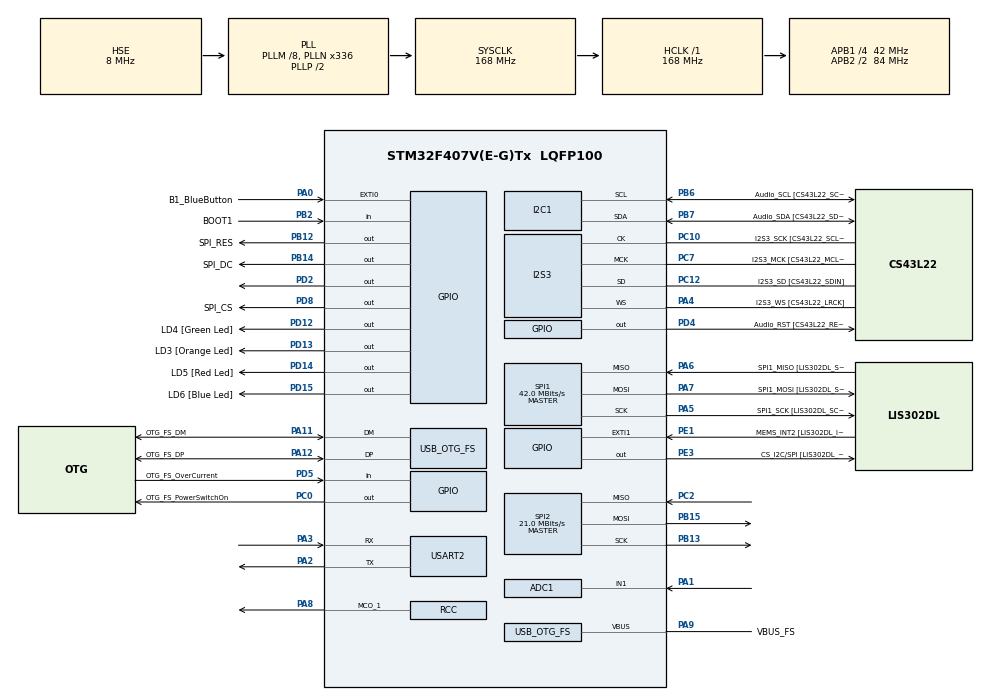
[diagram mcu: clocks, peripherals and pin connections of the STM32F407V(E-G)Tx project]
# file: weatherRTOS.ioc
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ADC1.Channel-0\#ChannelRegularConversion=ADC_CHANNEL_1
ADC1.ContinuousConvMode=ENABLE
ADC1.DMAContinuousRequests=ENABLE
ADC1.EnableAnalogWatchDog=false
ADC1.NbrOfConversionFlag=1
ADC1.Rank-0\#ChannelRegularConversion=1
ADC1.Resolution=ADC_RESOLUTION_8B
ADC1.SamplingTime-0\#ChannelRegularConversion=ADC_SAMPLETIME_3CYCLES
ADC1.master=1
Dma.ADC1.0.Direction=DMA_PERIPH_TO_MEMORY
Dma.ADC1.0.FIFOMode=DMA_FIFOMODE_DISABLE
Dma.ADC1.0.Instance=DMA2_Stream0
Dma.ADC1.0.MemDataAlignment=DMA_MDATAALIGN_HALFWORD
Dma.ADC1.0.MemInc=DMA_MINC_ENABLE
Dma.ADC1.0.Mode=DMA_NORMAL
Dma.ADC1.0.PeriphDataAlignment=DMA_PDATAALIGN_HALFWORD
Dma.ADC1.0.PeriphInc=DMA_PINC_DISABLE
Dma.ADC1.0.Priority=DMA_PRIORITY_MEDIUM
Dma.Request0=ADC1
FREERTOS.BinarySemaphores01=BME280_BinSem,Dynamic,NULL
FREERTOS.Mutexes01=adc_oled,Dynamic,NULL
FREERTOS.Queues01=QueuePeriphs,16,uint64_t,0,Dynamic,NULL,NULL
FREERTOS.Tasks01=TaskBME280,24,128,StartTaskBME280,Default,NULL,Dynamic,NULL,NULL;TaskOLED,24,128,StartTaskOLED,Default,NULL,Dynamic,NULL,NULL;TaskADC,24,128,StartTaskADC,Default,NULL,Dynamic,NULL,NULL
FREERTOS.Timers01=BME280_Timer,BME280_Callback,osTimerPeriodic,Default,NULL,Dynamic,NULL
FREERTOS.configENABLE_FPU=1
FREERTOS.configMAX_TASK_NAME_LEN=16
FREERTOS.configMINIMAL_STACK_SIZE=128
I2S3.AudioFreq-Half_Duplex_Master=I2S_AUDIOFREQ_96K
I2S3.ErrorAudioFreq=-2.34 %
I2S3.ErrorAudioFreq-Half_Duplex_Master=0.8 %
I2S3.FullDuplexMode=I2S_FULLDUPLEXMODE_DISABLE
I2S3.Instance=SPI$Index
I2S3.RealAudioFreq=93.75 KHz
I2S3.RealAudioFreq-Half_Duplex_Master=96.774 KHz
I2S3.VirtualMode=I2S_MODE_MASTER
Mcu.Family=STM32F4
Mcu.Name=STM32F407V(E-G)Tx
Mcu.Package=LQFP100
NVIC.DMA2_Stream0_IRQn=true\:5\:0\:false\:false\:true\:true\:false\:true
NVIC.EXTI0_IRQn=true\:5\:0\:false\:false\:true\:true\:true\:true
NVIC.OTG_FS_IRQn=true\:5\:0\:false\:false\:true\:true\:true\:true
NVIC.PriorityGroup=NVIC_PRIORITYGROUP_4
NVIC.RCC_IRQn=true\:5\:0\:false\:false\:true\:true\:true\:false
NVIC.TIM6_DAC_IRQn=true\:0\:0\:false\:false\:true\:false\:false\:true
NVIC.TimeBase=TIM6_DAC_IRQn
NVIC.TimeBaseIP=TIM6
PA0-WKUP.GPIO_Label=B1_BlueButton
PA0-WKUP.Signal=GPXTI0
PA1.Signal=ADCx_IN1
PA10.GPIO_Label=OTG_FS_ID
PA10.GPIO_Mode=GPIO_MODE_AF_PP
PA10.GPIO_PuPd=GPIO_NOPULL
PA10.GPIO_Speed=GPIO_SPEED_FREQ_LOW
PA10.Signal=USB_OTG_FS_ID
PA11.GPIO_Label=OTG_FS_DM
PA11.GPIO_Mode=GPIO_MODE_AF_PP
PA11.GPIO_PuPd=GPIO_NOPULL
PA11.GPIO_Speed=GPIO_SPEED_FREQ_LOW
PA11.Mode=Host_Only
PA11.Signal=USB_OTG_FS_DM
PA12.GPIO_Label=OTG_FS_DP
PA12.GPIO_Mode=GPIO_MODE_AF_PP
PA12.GPIO_PuPd=GPIO_NOPULL
PA12.GPIO_Speed=GPIO_SPEED_FREQ_LOW
PA12.Mode=Host_Only
PA12.Signal=USB_OTG_FS_DP
PA13.GPIO_Label=SWDIO
PA13.Mode=Serial_Wire
PA13.Signal=SYS_JTMS-SWDIO
PA14.GPIO_Label=SWCLK
PA14.Mode=Serial_Wire
PA14.Signal=SYS_JTCK-SWCLK
PA2.Mode=Asynchronous
PA2.Signal=USART2_TX
PA3.Mode=Asynchronous
PA3.Signal=USART2_RX
PA4.GPIO_Label=I2S3_WS [CS43L22_LRCK]
PA4.GPIO_Mode=GPIO_MODE_AF_PP
PA4.GPIO_PuPd=GPIO_NOPULL
PA4.GPIO_Speed=GPIO_SPEED_FREQ_LOW
PA4.Mode=Half_Duplex_Master
PA4.Signal=I2S3_WS
PA5.GPIO_Label=SPI1_SCK [LIS302DL_SCL/SPC]
PA5.GPIO_Mode=GPIO_MODE_AF_PP
PA5.GPIO_PuPd=GPIO_NOPULL
PA5.GPIO_Speed=GPIO_SPEED_FREQ_LOW
PA5.Mode=Full_Duplex_Master
PA5.Signal=SPI1_SCK
PA6.GPIO_Label=SPI1_MISO [LIS302DL_SDO]
PA6.GPIO_Mode=GPIO_MODE_AF_PP
PA6.GPIO_PuPd=GPIO_NOPULL
PA6.GPIO_Speed=GPIO_SPEED_FREQ_LOW
PA6.Mode=Full_Duplex_Master
PA6.Signal=SPI1_MISO
PA7.GPIO_Label=SPI1_MOSI [LIS302DL_SDA/SDI/SDO]
PA7.GPIO_Mode=GPIO_MODE_AF_PP
PA7.GPIO_PuPd=GPIO_NOPULL
PA7.GPIO_Speed=GPIO_SPEED_FREQ_LOW
PA7.Mode=Full_Duplex_Master
PA7.Signal=SPI1_MOSI
PA8.Mode=Clock-out-1
PA8.Signal=RCC_MCO_1
PA9.GPIO_Label=VBUS_FS
PA9.GPIO_Mode=GPIO_MODE_INPUT
PA9.GPIO_PuPd=GPIO_NOPULL
PA9.Mode=Activate_VBUS
PA9.Signal=USB_OTG_FS_VBUS
PB10.GPIO_Label=CLK_IN [MP45DT02_CLK]
PB10.GPIO_Mode=GPIO_MODE_AF_PP
PB10.GPIO_PuPd=GPIO_NOPULL
PB10.GPIO_Speed=GPIO_SPEED_FREQ_LOW
PB10.Signal=I2S2_CK
PB12.GPIO_Label=SPI_RES
PB12.Signal=GPIO_Output
PB13.Mode=Full_Duplex_Master
PB13.Signal=SPI2_SCK
PB14.GPIO_Label=SPI_DC
PB14.Signal=GPIO_Output
PB15.Mode=Full_Duplex_Master
PB15.Signal=SPI2_MOSI
PB2.GPIO_Label=BOOT1
PB2.GPIO_Mode=GPIO_MODE_INPUT
PB2.GPIO_PuPd=GPIO_NOPULL
PB2.Signal=GPIO_Input
PB3.GPIO_Label=SWO
PB3.Signal=SYS_JTDO-SWO
PB6.GPIO_Label=Audio_SCL [CS43L22_SCL]
PB6.GPIO_Mode=GPIO_MODE_AF_OD
PB6.GPIO_PuPd=GPIO_NOPULL
PB6.GPIO_Speed=GPIO_SPEED_FREQ_LOW
PB6.Mode=I2C
PB6.Signal=I2C1_SCL
PB7.GPIO_Label=Audio_SDA [CS43L22_SDA]
PB7.GPIO_Mode=GPIO_MODE_AF_OD
PB7.GPIO_Speed=GPIO_SPEED_FREQ_LOW
PB7.Mode=I2C
PB7.Signal=I2C1_SDA
PC0.GPIO_Label=OTG_FS_PowerSwitchOn
PC0.GPIO_PuPd=GPIO_NOPULL
PC0.GPIO_Speed=GPIO_SPEED_FREQ_LOW
PC0.PinState=GPIO_PIN_SET
PC0.Signal=GPIO_Output
PC10.GPIO_Label=I2S3_SCK [CS43L22_SCLK]
PC10.GPIO_Mode=GPIO_MODE_AF_PP
PC10.GPIO_PuPd=GPIO_NOPULL
PC10.GPIO_Speed=GPIO_SPEED_FREQ_LOW
PC10.Mode=Half_Duplex_Master
PC10.Signal=I2S3_CK
PC12.GPIO_Label=I2S3_SD [CS43L22_SDIN]
PC12.GPIO_Mode=GPIO_MODE_AF_PP
PC12.GPIO_PuPd=GPIO_NOPULL
PC12.GPIO_Speed=GPIO_SPEED_FREQ_LOW
PC12.Mode=Half_Duplex_Master
PC12.Signal=I2S3_SD
PC14-OSC32_IN.GPIO_Label=PC14-OSC32_IN
PC14-OSC32_IN.Mode=LSE-External-Oscillator
PC14-OSC32_IN.Signal=RCC_OSC32_IN
PC15-OSC32_OUT.GPIO_Label=PC15-OSC32_OUT
PC15-OSC32_OUT.Mode=LSE-External-Oscillator
PC15-OSC32_OUT.Signal=RCC_OSC32_OUT
PC2.Mode=Full_Duplex_Master
PC2.Signal=SPI2_MISO
PC3.GPIO_Label=PDM_OUT [MP45DT02_DOUT]
PC3.GPIO_Mode=GPIO_MODE_AF_PP
PC3.GPIO_PuPd=GPIO_NOPULL
PC3.GPIO_Speed=GPIO_SPEED_FREQ_LOW
PC3.Signal=I2S2_SD
PC7.GPIO_Label=I2S3_MCK [CS43L22_MCLK]
PC7.GPIO_Mode=GPIO_MODE_AF_PP
PC7.GPIO_PuPd=GPIO_NOPULL
PC7.GPIO_Speed=GPIO_SPEED_FREQ_LOW
PC7.Mode=Master_Clock_Activated
PC7.Signal=I2S3_MCK
PD12.GPIO_Label=LD4 [Green Led]
PD12.GPIO_PuPd=GPIO_NOPULL
PD12.GPIO_Speed=GPIO_SPEED_FREQ_LOW
PD12.Signal=GPIO_Output
PD13.GPIO_Label=LD3 [Orange Led]
PD13.GPIO_PuPd=GPIO_NOPULL
PD13.GPIO_Speed=GPIO_SPEED_FREQ_LOW
PD13.Signal=GPIO_Output
PD14.GPIO_Label=LD5 [Red Led]
PD14.GPIO_PuPd=GPIO_NOPULL
PD14.GPIO_Speed=GPIO_SPEED_FREQ_LOW
PD14.Signal=GPIO_Output
PD15.GPIO_Label=LD6 [Blue Led]
PD15.GPIO_PuPd=GPIO_NOPULL
PD15.GPIO_Speed=GPIO_SPEED_FREQ_LOW
PD15.Signal=GPIO_Output
PD2.Signal=GPIO_Output
PD4.GPIO_Label=Audio_RST [CS43L22_RESET]
PD4.GPIO_PuPd=GPIO_NOPULL
PD4.GPIO_Speed=GPIO_SPEED_FREQ_LOW
PD4.Signal=GPIO_Output
PD5.GPIO_Label=OTG_FS_OverCurrent
PD5.GPIO_Mode=GPIO_MODE_INPUT
PD5.GPIO_PuPd=GPIO_NOPULL
PD5.Signal=GPIO_Input
PD8.GPIO_Label=SPI_CS
PD8.Signal=GPIO_Output
PE1.GPIO_Label=MEMS_INT2 [LIS302DL_INT2]
PE1.GPIO_ModeDefaultEXTI=GPIO_MODE_EVT_RISING
PE1.GPIO_PuPd=GPIO_NOPULL
PE1.Signal=GPXTI1
PE3.GPIO_Label=CS_I2C/SPI [LIS302DL_CS_I2C/SPI]
PE3.GPIO_PuPd=GPIO_NOPULL
PE3.GPIO_Speed=GPIO_SPEED_FREQ_LOW
PE3.Signal=GPIO_Output
PH0-OSC_IN.GPIO_Label=PH0-OSC_IN
PH0-OSC_IN.Mode=HSE-External-Oscillator
PH0-OSC_IN.Signal=RCC_OSC_IN
PH1-OSC_OUT.GPIO_Label=PH1-OSC_OUT
PH1-OSC_OUT.Mode=HSE-External-Oscillator
PH1-OSC_OUT.Signal=RCC_OSC_OUT
ProjectManager.HeapSize=0x200
ProjectManager.StackSize=0x400
ProjectManager.TargetToolchain=STM32CubeIDE
RCC.48MHZClocksFreq_Value=48000000
RCC.AHBFreq_Value=168000000
RCC.APB1CLKDivider=RCC_HCLK_DIV4
RCC.APB1Freq_Value=42000000
RCC.APB1TimFreq_Value=84000000
RCC.APB2CLKDivider=RCC_HCLK_DIV2
RCC.APB2Freq_Value=84000000
RCC.APB2TimFreq_Value=168000000
RCC.CortexFreq_Value=168000000
RCC.HCLKFreq_Value=168000000
RCC.HSE_VALUE=8000000
RCC.HSI_VALUE=16000000
RCC.PLLM=8
RCC.PLLN=336
RCC.PLLQ=7
RCC.SYSCLKFreq_VALUE=168000000
RCC.SYSCLKSource=RCC_SYSCLKSOURCE_PLLCLK
RCC.VCOOutputFreq_Value=336000000
SH.ADCx_IN1.0=ADC1_IN1,IN1
SPI1.CalculateBaudRate=42.0 MBits/s
SPI1.Direction=SPI_DIRECTION_2LINES
SPI1.Mode=SPI_MODE_MASTER
SPI1.VirtualType=VM_MASTER
SPI2.CalculateBaudRate=21.0 MBits/s
SPI2.Direction=SPI_DIRECTION_2LINES
SPI2.Mode=SPI_MODE_MASTER
SPI2.VirtualType=VM_MASTER
USART2.VirtualMode=VM_ASYNC
USB_HOST.BSP.number=1
USB_HOST.USBH_HandleTypeDef-CDC_FS=hUsbHostFS
USB_HOST.USBH_USE_OS-CDC_FS=0
USB_HOST.VirtualModeFS=Cdc
USB_HOST0.BSP.STBoard=false
USB_HOST0.BSP.api=Unknown
USB_HOST0.BSP.i2caddr=0
USB_HOST0.BSP.i2creg=0
USB_HOST0.BSP.instance=PC0
USB_HOST0.BSP.ip=GPIO
USB_HOST0.BSP.mode=Output
USB_HOST0.BSP.name=Drive_VBUS_FS
USB_HOST0.BSP.solution=PC0
USB_OTG_FS.VirtualMode=Host_Only
USB_OTG_FS.phy_itface=HCD_PHY_EMBEDDED
VP_FREERTOS_VS_CMSIS_V2.Mode=CMSIS_V2
VP_SYS_VS_tim6.Mode=TIM6
VP_USB_HOST_VS_USB_HOST_CDC_FS.Mode=CDC_FS
board=STM32F407G-DISC1

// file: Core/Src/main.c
/* USER CODE BEGIN Header */
/**
  ******************************************************************************
  * @file           : main.c
  * @brief          : Main program body
  ******************************************************************************
  * @attention
  *
  * <h2><center>&copy; Copyright (c) 2021 STMicroelectronics.
  * All rights reserved.</center></h2>
  *
  * This software component is licensed by ST under Ultimate Liberty license
  * SLA0044, the "License"; You may not use this file except in compliance with
  * the License. You may obtain a copy of the License at:
  *                             www.st.com/SLA0044
  *
  ******************************************************************************
  */
/* USER CODE END Header */
#include "main.h"
#include "cmsis_os.h"
#include "usb_host.h"

/* USER CODE BEGIN Includes */
#include "BME280.h"
#include "OLED.h"
#include "FXOS.h"
#include <string.h>
#include <stdio.h>
/* USER CODE END Includes */

/* USER CODE BEGIN PM */
#define BME280_PERIOD_MS			(1000UL)	// period to check BME280 sensor status
#define OLED_PERIOD_MS				(40UL)		// period to update OLED display
#define ADC_PERIOD_MS				(10UL)		// period to check ADC value

#define ESP32_ADDR					(0x07)		// slave address for ESP32 I2C
#define ESP32_BUF_SIZE				(2UL)		// I2C buffer size
/* USER CODE END PM */

ADC_HandleTypeDef hadc1;
DMA_HandleTypeDef hdma_adc1;

I2C_HandleTypeDef hi2c1;

I2S_HandleTypeDef hi2s3;

SPI_HandleTypeDef hspi1;
SPI_HandleTypeDef hspi2;

UART_HandleTypeDef huart2;

/* Definitions for TaskBME280 */
osThreadId_t TaskBME280Handle;
const osThreadAttr_t TaskBME280_attributes = {
  .name = "TaskBME280",
  .priority = (osPriority_t) osPriorityNormal,
  .stack_size = 128 * 4
};
/* Definitions for TaskOLED */
osThreadId_t TaskOLEDHandle;
const osThreadAttr_t TaskOLED_attributes = {
  .name = "TaskOLED",
  .priority = (osPriority_t) osPriorityNormal,
  .stack_size = 128 * 4
};
/* Definitions for TaskADC */
osThreadId_t TaskADCHandle;
const osThreadAttr_t TaskADC_attributes = {
  .name = "TaskADC",
  .priority = (osPriority_t) osPriorityNormal,
  .stack_size = 128 * 4
};
/* Definitions for QueuePeriphs */
osMessageQueueId_t QueuePeriphsHandle;
const osMessageQueueAttr_t QueuePeriphs_attributes = {
  .name = "QueuePeriphs"
};
/* Definitions for BME280_Timer */
osTimerId_t BME280_TimerHandle;
const osTimerAttr_t BME280_Timer_attributes = {
  .name = "BME280_Timer"
};
/* Definitions for adc_oled */
osMutexId_t adc_oledHandle;
const osMutexAttr_t adc_oled_attributes = {
  .name = "adc_oled"
};
/* Definitions for BME280_BinSem */
osSemaphoreId_t BME280_BinSemHandle;
const osSemaphoreAttr_t BME280_BinSem_attributes = {
  .name = "BME280_BinSem"
};
/* USER CODE BEGIN PV */

volatile Bool buttonIRQ_g = False ;
uint8_t dimmingVal_g = 0 ;	// only global in main.c

/* USER CODE END PV */

void SystemClock_Config(void);
static void MX_GPIO_Init(void);
static void MX_DMA_Init(void);
static void MX_I2C1_Init(void);
static void MX_I2S3_Init(void);
static void MX_SPI1_Init(void);
static void MX_SPI2_Init(void);
static void MX_USART2_UART_Init(void);
static void MX_ADC1_Init(void);
void StartTaskBME280(void *argument);
void StartTaskOLED(void *argument);
void StartTaskADC(void *argument);
void BME280_Callback(void *argument);

/* USER CODE BEGIN PFP */
void floatToStr(float f, int8_t *buf, uint8_t decPlaces) ;
/* USER CODE END PFP */

int main(void)
{

  /* MCU Configuration--------------------------------------------------------*/

  /* Reset of all peripherals, Initializes the Flash interface and the Systick. */
  HAL_Init();

  /* Configure the system clock */
  SystemClock_Config();

  /* Initialize all configured peripherals */
  MX_GPIO_Init();
  MX_DMA_Init();
  MX_I2C1_Init();
  MX_I2S3_Init();
  MX_SPI1_Init();
  MX_SPI2_Init();
  MX_USART2_UART_Init();
  MX_ADC1_Init();

  /* Init scheduler */
  osKernelInitialize();
  /* Create the mutex(es) */
  /* creation of adc_oled */
  adc_oledHandle = osMutexNew(&adc_oled_attributes);

  /* Create the semaphores(s) */
  /* creation of BME280_BinSem */
  BME280_BinSemHandle = osSemaphoreNew(1, 1, &BME280_BinSem_attributes);

  /* Create the timer(s) */
  /* creation of BME280_Timer */
  BME280_TimerHandle = osTimerNew(BME280_Callback, osTimerPeriodic, NULL, &BME280_Timer_attributes);

  /* USER CODE BEGIN RTOS_TIMERS */
  /* start timers, add new ones, ... */

  // start BME280_TimerHandle
  osTimerStart(BME280_TimerHandle, BME280_PERIOD_MS) ;

  /* USER CODE END RTOS_TIMERS */

  /* Create the queue(s) */
  /* creation of QueuePeriphs */
  QueuePeriphsHandle = osMessageQueueNew (16, sizeof(uint64_t), &QueuePeriphs_attributes);

  /* Create the thread(s) */
  /* creation of TaskBME280 */
  TaskBME280Handle = osThreadNew(StartTaskBME280, NULL, &TaskBME280_attributes);

  /* creation of TaskOLED */
  TaskOLEDHandle = osThreadNew(StartTaskOLED, NULL, &TaskOLED_attributes);

  /* creation of TaskADC */
  TaskADCHandle = osThreadNew(StartTaskADC, NULL, &TaskADC_attributes);

  /* Start scheduler */
  osKernelStart();

  /* We should never get here as control is now taken by the scheduler */
  /* Infinite loop */
  while (1)
  {

  }
}

void SystemClock_Config(void)
{
  RCC_OscInitTypeDef RCC_OscInitStruct = {0};
  RCC_ClkInitTypeDef RCC_ClkInitStruct = {0};
  RCC_PeriphCLKInitTypeDef PeriphClkInitStruct = {0};

  /** Configure the main internal regulator output voltage
  */
  __HAL_RCC_PWR_CLK_ENABLE();
  __HAL_PWR_VOLTAGESCALING_CONFIG(PWR_REGULATOR_VOLTAGE_SCALE1);
  /** Initializes the RCC Oscillators according to the specified parameters
  * in the RCC_OscInitTypeDef structure.
  */
  RCC_OscInitStruct.OscillatorType = RCC_OSCILLATORTYPE_HSI|RCC_OSCILLATORTYPE_HSE;
  RCC_OscInitStruct.HSEState = RCC_HSE_ON;
  RCC_OscInitStruct.HSIState = RCC_HSI_ON;
  RCC_OscInitStruct.HSICalibrationValue = RCC_HSICALIBRATION_DEFAULT;
  RCC_OscInitStruct.PLL.PLLState = RCC_PLL_ON;
  RCC_OscInitStruct.PLL.PLLSource = RCC_PLLSOURCE_HSE;
  RCC_OscInitStruct.PLL.PLLM = 8;
  RCC_OscInitStruct.PLL.PLLN = 336;
  RCC_OscInitStruct.PLL.PLLP = RCC_PLLP_DIV2;
  RCC_OscInitStruct.PLL.PLLQ = 7;
  if (HAL_RCC_OscConfig(&RCC_OscInitStruct) != HAL_OK)
  {
    Error_Handler();
  }
  /** Initializes the CPU, AHB and APB buses clocks
  */
  RCC_ClkInitStruct.ClockType = RCC_CLOCKTYPE_HCLK|RCC_CLOCKTYPE_SYSCLK
                              |RCC_CLOCKTYPE_PCLK1|RCC_CLOCKTYPE_PCLK2;
  RCC_ClkInitStruct.SYSCLKSource = RCC_SYSCLKSOURCE_PLLCLK;
  RCC_ClkInitStruct.AHBCLKDivider = RCC_SYSCLK_DIV1;
  RCC_ClkInitStruct.APB1CLKDivider = RCC_HCLK_DIV4;
  RCC_ClkInitStruct.APB2CLKDivider = RCC_HCLK_DIV2;

  if (HAL_RCC_ClockConfig(&RCC_ClkInitStruct, FLASH_LATENCY_5) != HAL_OK)
  {
    Error_Handler();
  }
  PeriphClkInitStruct.PeriphClockSelection = RCC_PERIPHCLK_I2S;
  PeriphClkInitStruct.PLLI2S.PLLI2SN = 192;
  PeriphClkInitStruct.PLLI2S.PLLI2SR = 2;
  if (HAL_RCCEx_PeriphCLKConfig(&PeriphClkInitStruct) != HAL_OK)
  {
    Error_Handler();
  }
  HAL_RCC_MCOConfig(RCC_MCO1, RCC_MCO1SOURCE_HSI, RCC_MCODIV_1);
}

static void MX_ADC1_Init(void)
{

  ADC_ChannelConfTypeDef sConfig = {0};

  /** Configure the global features of the ADC (Clock, Resolution, Data Alignment and number of conversion)
  */
  hadc1.Instance = ADC1;
  hadc1.Init.ClockPrescaler = ADC_CLOCK_SYNC_PCLK_DIV4;
  hadc1.Init.Resolution = ADC_RESOLUTION_8B;
  hadc1.Init.ScanConvMode = DISABLE;
  hadc1.Init.ContinuousConvMode = ENABLE;
  hadc1.Init.DiscontinuousConvMode = DISABLE;
  hadc1.Init.ExternalTrigConvEdge = ADC_EXTERNALTRIGCONVEDGE_NONE;
  hadc1.Init.ExternalTrigConv = ADC_SOFTWARE_START;
  hadc1.Init.DataAlign = ADC_DATAALIGN_RIGHT;
  hadc1.Init.NbrOfConversion = 1;
  hadc1.Init.DMAContinuousRequests = ENABLE;
  hadc1.Init.EOCSelection = ADC_EOC_SINGLE_CONV;
  if (HAL_ADC_Init(&hadc1) != HAL_OK)
  {
    Error_Handler();
  }
  /** Configure for the selected ADC regular channel its corresponding rank in the sequencer and its sample time.
  */
  sConfig.Channel = ADC_CHANNEL_1;
  sConfig.Rank = 1;
  sConfig.SamplingTime = ADC_SAMPLETIME_3CYCLES;
  if (HAL_ADC_ConfigChannel(&hadc1, &sConfig) != HAL_OK)
  {
    Error_Handler();
  }

}

static void MX_I2C1_Init(void)
{

  hi2c1.Instance = I2C1;
  hi2c1.Init.ClockSpeed = 100000;
  hi2c1.Init.DutyCycle = I2C_DUTYCYCLE_2;
  hi2c1.Init.OwnAddress1 = 0;
  hi2c1.Init.AddressingMode = I2C_ADDRESSINGMODE_7BIT;
  hi2c1.Init.DualAddressMode = I2C_DUALADDRESS_DISABLE;
  hi2c1.Init.OwnAddress2 = 0;
  hi2c1.Init.GeneralCallMode = I2C_GENERALCALL_DISABLE;
  hi2c1.Init.NoStretchMode = I2C_NOSTRETCH_DISABLE;
  if (HAL_I2C_Init(&hi2c1) != HAL_OK)
  {
    Error_Handler();
  }

}

static void MX_I2S3_Init(void)
{

  hi2s3.Instance = SPI3;
  hi2s3.Init.Mode = I2S_MODE_MASTER_TX;
  hi2s3.Init.Standard = I2S_STANDARD_PHILIPS;
  hi2s3.Init.DataFormat = I2S_DATAFORMAT_16B;
  hi2s3.Init.MCLKOutput = I2S_MCLKOUTPUT_ENABLE;
  hi2s3.Init.AudioFreq = I2S_AUDIOFREQ_96K;
  hi2s3.Init.CPOL = I2S_CPOL_LOW;
  hi2s3.Init.ClockSource = I2S_CLOCK_PLL;
  hi2s3.Init.FullDuplexMode = I2S_FULLDUPLEXMODE_DISABLE;
  if (HAL_I2S_Init(&hi2s3) != HAL_OK)
  {
    Error_Handler();
  }

}

static void MX_SPI1_Init(void)
{

  /* SPI1 parameter configuration*/
  hspi1.Instance = SPI1;
  hspi1.Init.Mode = SPI_MODE_MASTER;
  hspi1.Init.Direction = SPI_DIRECTION_2LINES;
  hspi1.Init.DataSize = SPI_DATASIZE_8BIT;
  hspi1.Init.CLKPolarity = SPI_POLARITY_LOW;
  hspi1.Init.CLKPhase = SPI_PHASE_1EDGE;
  hspi1.Init.NSS = SPI_NSS_SOFT;
  hspi1.Init.BaudRatePrescaler = SPI_BAUDRATEPRESCALER_2;
  hspi1.Init.FirstBit = SPI_FIRSTBIT_MSB;
  hspi1.Init.TIMode = SPI_TIMODE_DISABLE;
  hspi1.Init.CRCCalculation = SPI_CRCCALCULATION_DISABLE;
  hspi1.Init.CRCPolynomial = 10;
  if (HAL_SPI_Init(&hspi1) != HAL_OK)
  {
    Error_Handler();
  }

}

static void MX_SPI2_Init(void)
{

  /* SPI2 parameter configuration*/
  hspi2.Instance = SPI2;
  hspi2.Init.Mode = SPI_MODE_MASTER;
  hspi2.Init.Direction = SPI_DIRECTION_2LINES;
  hspi2.Init.DataSize = SPI_DATASIZE_8BIT;
  hspi2.Init.CLKPolarity = SPI_POLARITY_LOW;
  hspi2.Init.CLKPhase = SPI_PHASE_1EDGE;
  hspi2.Init.NSS = SPI_NSS_SOFT;
  hspi2.Init.BaudRatePrescaler = SPI_BAUDRATEPRESCALER_2;
  hspi2.Init.FirstBit = SPI_FIRSTBIT_MSB;
  hspi2.Init.TIMode = SPI_TIMODE_DISABLE;
  hspi2.Init.CRCCalculation = SPI_CRCCALCULATION_DISABLE;
  hspi2.Init.CRCPolynomial = 10;
  if (HAL_SPI_Init(&hspi2) != HAL_OK)
  {
    Error_Handler();
  }

}

static void MX_USART2_UART_Init(void)
{

  huart2.Instance = USART2;
  huart2.Init.BaudRate = 115200;
  huart2.Init.WordLength = UART_WORDLENGTH_8B;
  huart2.Init.StopBits = UART_STOPBITS_1;
  huart2.Init.Parity = UART_PARITY_NONE;
  huart2.Init.Mode = UART_MODE_TX_RX;
  huart2.Init.HwFlowCtl = UART_HWCONTROL_NONE;
  huart2.Init.OverSampling = UART_OVERSAMPLING_16;
  if (HAL_UART_Init(&huart2) != HAL_OK)
  {
    Error_Handler();
  }

}

static void MX_DMA_Init(void)
{

  /* DMA controller clock enable */
  __HAL_RCC_DMA2_CLK_ENABLE();

  /* DMA interrupt init */
  /* DMA2_Stream0_IRQn interrupt configuration */
  HAL_NVIC_SetPriority(DMA2_Stream0_IRQn, 5, 0);
  HAL_NVIC_EnableIRQ(DMA2_Stream0_IRQn);

}

static void MX_GPIO_Init(void)
{
  GPIO_InitTypeDef GPIO_InitStruct = {0};

  /* GPIO Ports Clock Enable */
  __HAL_RCC_GPIOE_CLK_ENABLE();
  __HAL_RCC_GPIOC_CLK_ENABLE();
  __HAL_RCC_GPIOH_CLK_ENABLE();
  __HAL_RCC_GPIOA_CLK_ENABLE();
  __HAL_RCC_GPIOB_CLK_ENABLE();
  __HAL_RCC_GPIOD_CLK_ENABLE();

  /*Configure GPIO pin Output Level */
  HAL_GPIO_WritePin(CS_I2C_SPI_GPIO_Port, CS_I2C_SPI_Pin, GPIO_PIN_RESET);

  /*Configure GPIO pin Output Level */
  HAL_GPIO_WritePin(OTG_FS_PowerSwitchOn_GPIO_Port, OTG_FS_PowerSwitchOn_Pin, GPIO_PIN_SET);

  /*Configure GPIO pin Output Level */
  HAL_GPIO_WritePin(GPIOB, SPI_RES_Pin|SPI_DC_Pin, GPIO_PIN_RESET);

  /*Configure GPIO pin Output Level */
  HAL_GPIO_WritePin(GPIOD, SPI_CS_Pin|LD4_Pin|LD3_Pin|LD5_Pin
                          |LD6_Pin|GPIO_PIN_2|Audio_RST_Pin, GPIO_PIN_RESET);

  /*Configure GPIO pin : CS_I2C_SPI_Pin */
  GPIO_InitStruct.Pin = CS_I2C_SPI_Pin;
  GPIO_InitStruct.Mode = GPIO_MODE_OUTPUT_PP;
  GPIO_InitStruct.Pull = GPIO_NOPULL;
  GPIO_InitStruct.Speed = GPIO_SPEED_FREQ_LOW;
  HAL_GPIO_Init(CS_I2C_SPI_GPIO_Port, &GPIO_InitStruct);

  /*Configure GPIO pin : OTG_FS_PowerSwitchOn_Pin */
  GPIO_InitStruct.Pin = OTG_FS_PowerSwitchOn_Pin;
  GPIO_InitStruct.Mode = GPIO_MODE_OUTPUT_PP;
  GPIO_InitStruct.Pull = GPIO_NOPULL;
  GPIO_InitStruct.Speed = GPIO_SPEED_FREQ_LOW;
  HAL_GPIO_Init(OTG_FS_PowerSwitchOn_GPIO_Port, &GPIO_InitStruct);

  /*Configure GPIO pin : PDM_OUT_Pin */
  GPIO_InitStruct.Pin = PDM_OUT_Pin;
  GPIO_InitStruct.Mode = GPIO_MODE_AF_PP;
  GPIO_InitStruct.Pull = GPIO_NOPULL;
  GPIO_InitStruct.Speed = GPIO_SPEED_FREQ_LOW;
  GPIO_InitStruct.Alternate = GPIO_AF5_SPI2;
  HAL_GPIO_Init(PDM_OUT_GPIO_Port, &GPIO_InitStruct);

  /*Configure GPIO pin : B1_BlueButton_Pin */
  GPIO_InitStruct.Pin = B1_BlueButton_Pin;
  GPIO_InitStruct.Mode = GPIO_MODE_IT_RISING;
  GPIO_InitStruct.Pull = GPIO_NOPULL;
  HAL_GPIO_Init(B1_BlueButton_GPIO_Port, &GPIO_InitStruct);

  /*Configure GPIO pin : BOOT1_Pin */
  GPIO_InitStruct.Pin = BOOT1_Pin;
  GPIO_InitStruct.Mode = GPIO_MODE_INPUT;
  GPIO_InitStruct.Pull = GPIO_NOPULL;
  HAL_GPIO_Init(BOOT1_GPIO_Port, &GPIO_InitStruct);

  /*Configure GPIO pin : CLK_IN_Pin */
  GPIO_InitStruct.Pin = CLK_IN_Pin;
  GPIO_InitStruct.Mode = GPIO_MODE_AF_PP;
  GPIO_InitStruct.Pull = GPIO_NOPULL;
  GPIO_InitStruct.Speed = GPIO_SPEED_FREQ_LOW;
  GPIO_InitStruct.Alternate = GPIO_AF5_SPI2;
  HAL_GPIO_Init(CLK_IN_GPIO_Port, &GPIO_InitStruct);

  /*Configure GPIO pins : SPI_RES_Pin SPI_DC_Pin */
  GPIO_InitStruct.Pin = SPI_RES_Pin|SPI_DC_Pin;
  GPIO_InitStruct.Mode = GPIO_MODE_OUTPUT_PP;
  GPIO_InitStruct.Pull = GPIO_NOPULL;
  GPIO_InitStruct.Speed = GPIO_SPEED_FREQ_LOW;
  HAL_GPIO_Init(GPIOB, &GPIO_InitStruct);

  /*Configure GPIO pins : SPI_CS_Pin LD4_Pin LD3_Pin LD5_Pin
                           LD6_Pin PD2 Audio_RST_Pin */
  GPIO_InitStruct.Pin = SPI_CS_Pin|LD4_Pin|LD3_Pin|LD5_Pin
                          |LD6_Pin|GPIO_PIN_2|Audio_RST_Pin;
  GPIO_InitStruct.Mode = GPIO_MODE_OUTPUT_PP;
  GPIO_InitStruct.Pull = GPIO_NOPULL;
  GPIO_InitStruct.Speed = GPIO_SPEED_FREQ_LOW;
  HAL_GPIO_Init(GPIOD, &GPIO_InitStruct);

  /*Configure GPIO pin : PA8 */
  GPIO_InitStruct.Pin = GPIO_PIN_8;
  GPIO_InitStruct.Mode = GPIO_MODE_AF_PP;
  GPIO_InitStruct.Pull = GPIO_NOPULL;
  GPIO_InitStruct.Speed = GPIO_SPEED_FREQ_LOW;
  GPIO_InitStruct.Alternate = GPIO_AF0_MCO;
  HAL_GPIO_Init(GPIOA, &GPIO_InitStruct);

  /*Configure GPIO pin : OTG_FS_OverCurrent_Pin */
  GPIO_InitStruct.Pin = OTG_FS_OverCurrent_Pin;
  GPIO_InitStruct.Mode = GPIO_MODE_INPUT;
  GPIO_InitStruct.Pull = GPIO_NOPULL;
  HAL_GPIO_Init(OTG_FS_OverCurrent_GPIO_Port, &GPIO_InitStruct);

  /*Configure GPIO pin : MEMS_INT2_Pin */
  GPIO_InitStruct.Pin = MEMS_INT2_Pin;
  GPIO_InitStruct.Mode = GPIO_MODE_EVT_RISING;
  GPIO_InitStruct.Pull = GPIO_NOPULL;
  HAL_GPIO_Init(MEMS_INT2_GPIO_Port, &GPIO_InitStruct);

  /* EXTI interrupt init*/
  HAL_NVIC_SetPriority(EXTI0_IRQn, 5, 0);
  HAL_NVIC_EnableIRQ(EXTI0_IRQn);

}

/* USER CODE BEGIN 4 */
void floatToStr(float f, int8_t *buf, uint8_t decPlaces){
	uint8_t i = 1 ;
	int8_t iPart = 0, fPart = 0 ;

	// do power of 10 by decPlaces
	while(decPlaces > 0){
		i = 10 * i ;
		decPlaces-- ;
	}

	iPart = (int8_t)f ;
	fPart = (f - iPart) * i ;

	sprintf(buf, "%i.%i\n", iPart, fPart) ;
}
/* USER CODE END 4 */

void StartTaskBME280(void *argument)
{
  /* init code for USB_HOST */
  MX_USB_HOST_Init();
  /* USER CODE BEGIN 5 */
  tBME280Conversion conv ;

  // create BME280 struct
  static struct weatherSensor BME280 ;

  // buffer for bme280
  int8_t buf[10] = { [0 ... 9] = '\n' },
		 n_buf = sizeof(buf)/sizeof(buf[0]) ;

  // buffer for esp32
  uint8_t espBuf[ESP32_BUF_SIZE] = { [0 ... (ESP32_BUF_SIZE - 1)] = '\n' },
		  m_buf = sizeof(espBuf)/sizeof(espBuf[0]) ;

  // reset BME280
  if(BME280_reset(&BME280, &hi2c1) != True){	// turn on LED D12 if error
	  GPIOD->ODR |= (1 << 12) ;
	  while(1) ;
  }
  // configure BME280
  if(BME280_initParams(&BME280)){
	  __asm("nop") ;
  }
  // initialize BME280 with configurations
  if(BME280_init(&BME280, &hi2c1) != True){	// turn on LED D13 if error
	  GPIOD->ODR |= (1 << 13) ;
	  while(1) ;
  }
  // send control measurement data for humidity sensor
  if(BME280_ctrlHumid(&BME280, &hi2c1) != True){	// turn on LED D14 if error
	  GPIOD->ODR |= (1 << 14) ;
	  while(1) ;
  }
  // send control measurement data for pressure + temp sensor
  if(BME280_ctrlMeas(&BME280, &hi2c1) != True){	// turn on LED D15 if error
	  GPIOD->ODR |= (1 << 15) ;
	  while(1) ;
  }
  // read BME280 ID
  if(BME280_readID(&BME280, &hi2c1) != True){	// turn on LED D12, D13 if error
	  GPIOD->ODR |= (1 << 12) ;
	  GPIOD->ODR |= (1 << 13) ;
	  while(1) ;
  }

  // call function that gets compensation vals
  BME280_getCompensationVals(&BME280, &hi2c1, DIG_T1_ADDR) ;
  BME280_getCompensationVals(&BME280, &hi2c1, DIG_P1_ADDR) ;
  BME280_getCompensationVals(&BME280, &hi2c1, DIG_H1_ADDR) ;

  /* Infinite loop */
  for(;;)
  {

	  // turn off external LED
	  GPIOD->ODR &= ~(1 << 2) ;
	  // check binary semaphore if data is ready to be read
	  if(osSemaphoreGetCount(BME280_BinSemHandle) != 0){
		  // light up all on-board LEDs when we are reading data
		  GPIOD->ODR |= (1 << 12) ;
		  GPIOD->ODR |= (1 << 13) ;
		  GPIOD->ODR |= (1 << 14) ;
		  GPIOD->ODR |= (1 << 15) ;

		  // read sensor data: temperature, pressure, humidity
		  BME280_readSensorData(&BME280, &hi2c1, BME280.temperatureAddr) ;
		  BME280_readSensorData(&BME280, &hi2c1, BME280.pressureAddr) ;
		  BME280_readSensorData(&BME280, &hi2c1, BME280.humidityAddr) ;

		  // call function that compensates vals
		  BME280.compTemp = BME280_compensateTemperature(&BME280) ;
		  BME280.compPressure = BME280_compensatePressure(&BME280) ;
		  BME280.compHumid = BME280_compensateHumidity(&BME280) ;

		  floatToStr(BME280.compTemp, buf, 2) ;
		  BME280.compTemp = (1.8 * BME280.compTemp) + 32 ;	// convert to degrees F

		  // fill esp32 buffer for data transfer via I2C
		  espBuf[0] = BME280.compHumid ;
		  espBuf[1] = BME280.compTemp ;

		  // transfer data to ESP32
		  HAL_I2C_Master_Transmit(&hi2c1, (ESP32_ADDR << 1), espBuf, m_buf, HAL_MAX_DELAY) ;

		  // check current number of messages in queue
		  // if it is below max - 3, allow data to be put into queue
		  if(osMessageQueueGetCount(QueuePeriphsHandle) < (osMessageQueueGetCapacity(QueuePeriphsHandle) - 6)){
			  // send temperature conversion ptr
			  conv = TEMP_CONV ;
			  // moved c to f conversion above
			  osMessageQueuePut(QueuePeriphsHandle, &conv, 0U, 0U) ;
			  osMessageQueuePut(QueuePeriphsHandle, &BME280.compTemp, 0U, 0U) ;

			  // send pressure conversion ptr
			  conv = PRESSURE_CONV ;
			  osMessageQueuePut(QueuePeriphsHandle, &conv, 0U, 0U) ;
			  osMessageQueuePut(QueuePeriphsHandle, &BME280.compPressure, 0U, 0U) ;

			  // send humidity conversion ptr
			  conv = HUMID_CONV ;
			  osMessageQueuePut(QueuePeriphsHandle, &conv, 0U, 0U) ;
			  osMessageQueuePut(QueuePeriphsHandle, &BME280.compHumid, 0U, 0U) ;
		  }

		  // turn off all on-board LEDs once data has been read + queue'd
		  GPIOD->ODR &= ~(1 << 12) ;
		  GPIOD->ODR &= ~(1 << 13) ;
		  GPIOD->ODR &= ~(1 << 14) ;
		  GPIOD->ODR &= ~(1 << 15) ;
	  } else{	// BME280 data not ready, turn on LED
		  GPIOD->ODR |= (1 << 2) ;
	  }

	  osThreadYield() ;
	  osDelay(BME280_PERIOD_MS);
  }
  osThreadTerminate(StartTaskBME280) ;
  /* USER CODE END 5 */
}

void StartTaskOLED(void *argument)
{
  /* USER CODE BEGIN StartTaskOLED */

	// create vars for BME280 value conversions
	double tempVarConv ;

	uint8_t msgLen = 0 ;

	int8_t temperatureStr[6] = { [0 ... 5] = '\n' },
		   humidityStr[6] = { [0 ... 5] = '\n' },
		   pressureStr[6] = { [0 ... 5] = '\n' },
		   *ptr[3] ;

	// create conversion enum var
	tBME280Conversion var ;

	// create OLED struct
	static struct display OLED ;

	OLED.periphOLED.isI2C = False ;

	// give *ptr[0 ... 2] address of arrs until work around is found
	ptr[0] = &humidityStr[0] ;
	ptr[1] = &temperatureStr[0] ;
	ptr[2] = &pressureStr[0] ;

	// setup OLED
	initOLEDParams(&OLED) ;
	resetOLED(&OLED, &hspi2) ;
	initOLED_buffer(&OLED, &hspi2) ;
	clearOLED(&OLED, &hspi2) ;
	createBorderOLED(&OLED, &hspi2) ;

  /* Infinite loop */
  for(;;)
  {
	  // check mutex to dim OLED panel
	  if(osMutexAcquire(adc_oledHandle, 0U) == osOK){
		  // dim OLED panel
		  OLED_changeContrast(&OLED, &hspi2, dimmingVal_g) ;
		  // release mutex
		  osMutexRelease(adc_oledHandle) ;
	  }

	  // get number of messages in queue
	  msgLen = osMessageQueueGetCount(QueuePeriphsHandle) ;

	  // enter only when queue has messages
	  if(msgLen > 0){
		  // go through all messages sent from BME280 task
		  for(uint8_t i = 0; i < (msgLen >> 1); i++){	// 1/2 messages for type, 1/2 messages for data
			  // get message from queue
			  osMessageQueueGet(QueuePeriphsHandle, &var, NULL, 0U) ;

			  switch(var){
				  case TEMP_CONV:		// begin converting temperature value
					  osMessageQueueGet(QueuePeriphsHandle, &tempVarConv, NULL, 0U) ;
					  //sprintf(temperatureStr, "%i\n", (int32_t)tempVarConv) ;
					  tempVarConv = ((tempVarConv - 32) * 5) / 9 ;
					  floatToStr(tempVarConv, temperatureStr, 1) ;
					  ptr[1] = temperatureStr ;
					  break ;

				  case HUMID_CONV:		// begin converting humidity value
					  osMessageQueueGet(QueuePeriphsHandle, &tempVarConv, NULL, 0U) ;
					  //sprintf(humidityStr, "%i\n", (int32_t)tempVarConv) ;
					  floatToStr(tempVarConv, humidityStr, 1) ;
					  ptr[0] = humidityStr ;
					  break ;

				  case PRESSURE_CONV:	// begin converting pressure value
					  osMessageQueueGet(QueuePeriphsHandle, &tempVarConv, NULL, 0U) ;
					  sprintf(pressureStr, "%i\n", (int32_t)tempVarConv) ;
					  ptr[2] = pressureStr ;
					  break ;

				  default:				// invalid entry ... must only be number
					  __asm("nop") ;
					  break ;
			  }
		  }

		  ptr[0] = &humidityStr[0] ;
		  ptr[1] = &temperatureStr[0] ;
		  ptr[2] = &pressureStr[0] ;

		  OLED_printStr(&OLED, &hspi2, ptr) ;
	  }

	  osThreadYield() ;
	  osDelay(OLED_PERIOD_MS);	// 1000 --> 40
  }
  osThreadTerminate(StartTaskOLED) ;
  /* USER CODE END StartTaskOLED */
}

void StartTaskADC(void *argument)
{
  /* USER CODE BEGIN StartTaskADC */
	// adc value and cnt variable
	static uint8_t tempDMA = 0, i = 0 ;
	static uint16_t valDMA = 0 ;
	// status for mutex ... used for debugging purposes
	osStatus_t stat ;

  /* Infinite loop */
  for(;;)
  {
	  // read from DMA
	  HAL_ADC_Start_DMA(&hadc1, (uint32_t*)&tempDMA, 1) ;
	  valDMA += tempDMA ;

	  i++ ;

	  if(i >= 4){
		  // take mutex for adc dma read
		  stat = osMutexAcquire(adc_oledHandle, 0U) ;

		  if(stat == osOK){
			  // take average (valDMA / 4)
			  dimmingVal_g = valDMA >> 2 ;
			  // reset valDMA for next round of conversions
			  valDMA = 0 ;
			  // reset i
			  i = 0 ;
			  // release mutex
			  stat = osMutexRelease(adc_oledHandle) ;
		  }
	  }

	  osThreadYield() ;
	  osDelay(ADC_PERIOD_MS);
  }
  osThreadTerminate(StartTaskADC) ;
  /* USER CODE END StartTaskADC */
}

/* BME280_Callback function */
void BME280_Callback(void *argument)
{
  /* USER CODE BEGIN BME280_Callback */
	static struct weatherSensor BME280_timer ;

	BME280_timer.periph.devAddr = BME280_ADDR << 1 ;

	// check if BME280 data is ready
	if(BME280_checkStatus(&BME280_timer, &hi2c1) != True){
		// if data is not ready yet, acquire the semaphore and prevent reading in BME280 thread
		osSemaphoreAcquire(BME280_BinSemHandle, 0U) ;
	} else{
		// data is ready to be read, allow BME280 thread to read data
		osSemaphoreRelease(BME280_BinSemHandle) ;
	}

  /* USER CODE END BME280_Callback */
}

 /**
  * @brief  Period elapsed callback in non blocking mode
  * @note   This function is called  when TIM6 interrupt took place, inside
  * HAL_TIM_IRQHandler(). It makes a direct call to HAL_IncTick() to increment
  * a global variable "uwTick" used as application time base.
  * @param  htim : TIM handle
  * @retval None
  */
void HAL_TIM_PeriodElapsedCallback(TIM_HandleTypeDef *htim)
{
  if (htim->Instance == TIM6) {
    HAL_IncTick();
  }
}

void Error_Handler(void)
{
  __disable_irq();
  while (1)
  {
  }
}

/************************ (C) COPYRIGHT STMicroelectronics *****END OF FILE****/
